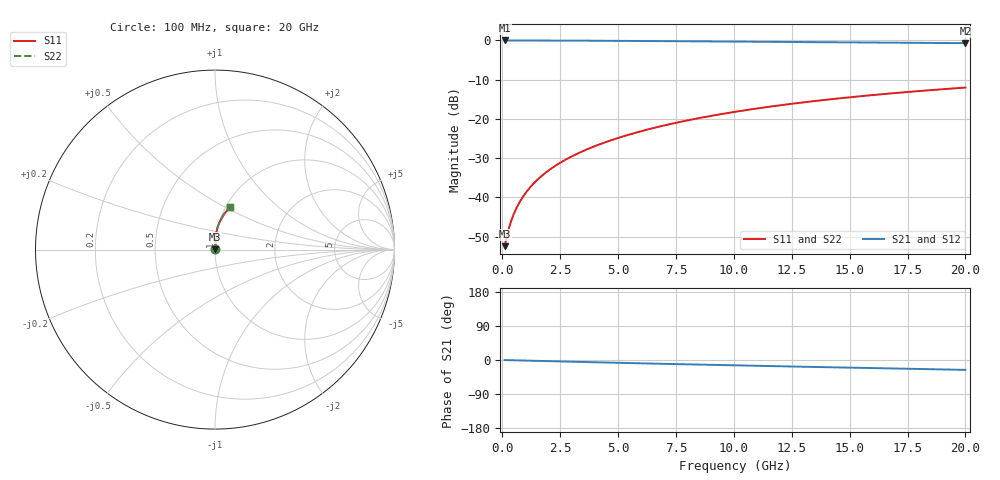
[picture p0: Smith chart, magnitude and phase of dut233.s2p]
! Touchstone file exported from HFSS 2024.1.0
!  File:  C:/UserFiles/LocalFiles/RDL_TSV_Batchsim/temp_RDL_top_233_1778688223.aedt
!  Generated:  12:05:34 AM May 14, 2026
!  Design:  RDL_top
!  Project:  temp_RDL_top_233_1778688223
!  Setup:  Setup1
!  Solution:  Sweep
! Variables:
!  dtsv = 10.80580581um
!  hbump = 3um
!  htsv = 65.36um
!  ldown = 100um
!  lrdl = 360.27um
!  p = 40
!  p1 = 46.22um
!  rhole = 1um
!  t = 450um
!  tdown = 3.915915916um
!  trdl = 3.12um
!  wdown = 15.38538539um
!  wrdl = 22.61um
# GHz S MA R 50.000000
! Terminal data exported
! Port[1] = Box2_T1
! Port[2] = Box2_T2
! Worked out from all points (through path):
!   200 points, 100 MHz to 20 GHz, reference 50 ohm
!   highest |S21| = -0.02 dB at 100 MHz (marker M1); lowest = -0.7 dB at 20 GHz (marker M2)
!   group delay of S21, straight-line fit = 3.58 ps
!   lowest |S11| = -52.4 dB at 100 MHz (marker M3), VSWR 1.00, Z = 50.2 + j0.123 ohm
!   |S11| at or under -10 dB: start of sweep to end of sweep
!   |S22| runs from -52.4 to -12.0 dB; largest |S21 - S12| = 4.1e-15
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0.1  0.002389 30.8  0.9979 -0.2  0.9979 -0.2  0.002389 30.9
! Gamma 0 0 0 0
! Port Impedance 50 0 50 0
0.2  0.003218 48.4  0.9978 -0.3  0.9978 -0.3  0.003218 48.4
0.3  0.004182 57.7  0.9977 -0.5  0.9977 -0.5  0.004182 57.7
0.4  0.005175 63.4  0.9976 -0.6  0.9976 -0.6  0.005175 63.4
0.5  0.006176 67.3  0.9975 -0.8  0.9975 -0.8  0.006176 67.3
0.6  0.007183 70.2  0.9973 -0.9  0.9973 -0.9  0.007183 70.2
0.8  0.009222 74.4  0.9971 -1.2  0.9971 -1.2  0.009221 74.4
1.1  0.01234 78.3  0.9968 -1.7  0.9968 -1.7  0.01234 78.4
1.3  0.01445 80.1  0.9965 -2.0  0.9965 -2.0  0.01445 80.1
1.6  0.01767 82.0  0.9961 -2.4  0.9961 -2.4  0.01767 82.1
2.1  0.02313 84.1  0.9951 -3.2  0.9951 -3.2  0.02313 84.1
2.7  0.02983 85.6  0.9938 -4.1  0.9938 -4.1  0.02984 85.7
3.5  0.03904 86.7  0.9915 -5.3  0.9915 -5.3  0.03905 86.8
4.2  0.04734 87.2  0.9892 -6.3  0.9892 -6.3  0.04736 87.2
5  0.0571 87.3  0.9864 -7.4  0.9864 -7.4  0.05714 87.4
6.8  0.07996 86.6  0.9791 -9.9  0.9791 -9.9  0.08002 86.7
8.4  0.101 85.3  0.9723 -12.0  0.9723 -12.0  0.1011 85.4
10.1  0.1236 83.4  0.9649 -14.2  0.9649 -14.2  0.1238 83.5
11.7  0.145 81.4  0.958 -16.2  0.958 -16.2  0.1452 81.5
13.4  0.1675 79.2  0.9506 -18.3  0.9506 -18.3  0.1677 79.3
16.7  0.21 74.8  0.9363 -22.2  0.9363 -22.2  0.2104 75.0
20  0.2505 70.5  0.9219 -26.1  0.9219 -26.1  0.2509 70.7
